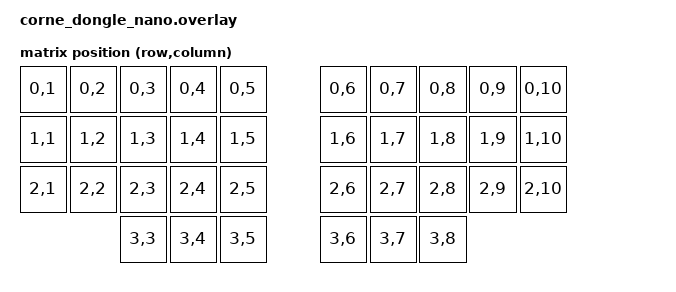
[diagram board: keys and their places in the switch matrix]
#include <dt-bindings/zmk/matrix_transform.h>
#include <layouts/foostan/corne/5column.dtsi>

/ {
	chosen {
		zmk,kscan = &mock_kscan;
		zmk,physical-layout = &foostan_corne_5col_layout;
		zephyr,display = &oled;
	};

	// 5-column corne transform (10 cols x 4 rows, skipping outer col 0 and 11).
	five_column_transform: keymap_transform_0 {
		compatible = "zmk,matrix-transform";
		columns = <10>;
		rows = <4>;
		map = <
RC(0,1) RC(0,2) RC(0,3) RC(0,4) RC(0,5)   RC(0,6) RC(0,7) RC(0,8) RC(0,9) RC(0,10)
RC(1,1) RC(1,2) RC(1,3) RC(1,4) RC(1,5)   RC(1,6) RC(1,7) RC(1,8) RC(1,9) RC(1,10)
RC(2,1) RC(2,2) RC(2,3) RC(2,4) RC(2,5)   RC(2,6) RC(2,7) RC(2,8) RC(2,9) RC(2,10)
                        RC(3,3) RC(3,4) RC(3,5)   RC(3,6) RC(3,7) RC(3,8)
		>;
	};

	mock_kscan: kscan_0 {
		compatible = "zmk,kscan-mock";
		columns = <0>;
		rows = <0>;
		events = <0>;
	};
};

// Bind foostan 5-col layout to our transform (required for ZMK Studio).
&foostan_corne_5col_layout {
	transform = <&five_column_transform>;
};

// 128x64 SH1106 OLED (same as charybdis dongle). Driven via the SSD1306 driver.
&pro_micro_i2c {
	status = "okay";

	oled: ssd1306@3c {
		compatible = "sinowealth,sh1106";
		reg = <0x3c>;
		width = <128>;
		height = <64>;
		segment-offset = <2>;
		page-offset = <0>;
		display-offset = <0>;
		multiplex-ratio = <63>;
		segment-remap;
		com-invdir;
		inversion-on;
		prechargep = <0x22>;
	};
};
